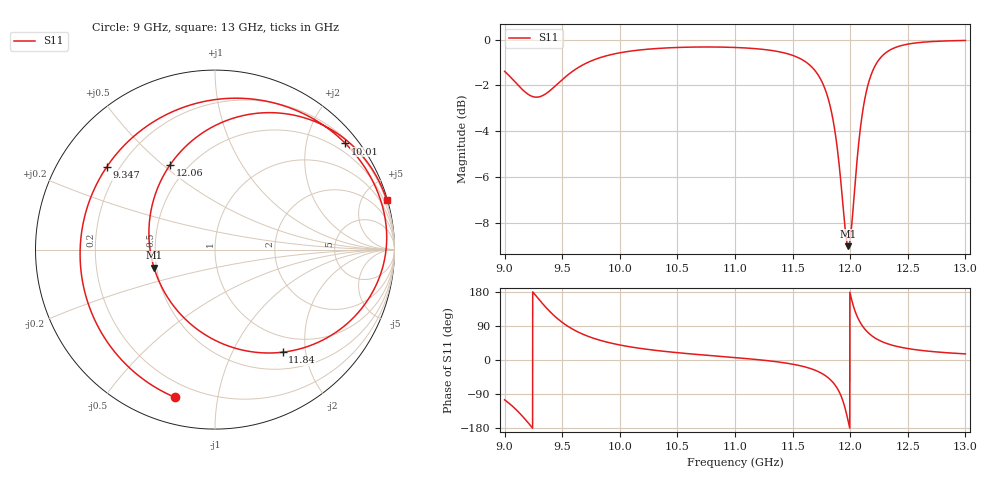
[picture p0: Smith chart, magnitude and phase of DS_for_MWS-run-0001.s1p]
! TOUCHSTONE file generated by CST DESIGN STUDIO
! Date and time: Tue Feb  4 18:29:34 2025
! Project name: C:\Work\MatlabApps\UnitCellOptimizationMatlab\CST\unitcell.cst
! Tree item: Tasks\Sweep1\SPara1\S-Parameters
! Header version: 2024
! Port assignment regex: !\s*Touchstone port\s*([0-9]+)\s*=\s*(CST MWS port|CST DES external port|CST DES block port)\s*(.+)\s* \(\"(.*)\"\)(\s*mode\s*([0-9]+))?.*
! Touchstone port assignment:
! Touchstone port 1 = CST DES external port 1 ("")
# GHz S MA R 50
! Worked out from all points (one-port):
!   4001 points, 9 GHz to 13 GHz, reference 50 ohm
!   lowest |S11| = -9.0 dB at 11.98 GHz (marker M1), VSWR 2.10, Z = 24.2 - j5.62 ohm
!   |S11| at or under -10 dB: nowhere
!   S11 on the Smith chart (normalised r, x): 9 GHz: 0.13, -0.76; 9.347 GHz: 0.15, +0.33; 10.01 GHz: 0.29, +2.78; 11.84 GHz: 0.74, -1.60; 12.06 GHz: 0.40, +0.53; 13 GHz: 0.10, +7.06
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9  0.853 -105.1
9.096  0.806 -129.8
9.198  0.7618 -163.3
9.27  0.7492 170.2
9.347  0.759 142.7
9.422  0.7851 119.2
9.5  0.8179 99.3
9.595  0.8547 80.6
9.724  0.8923 62.6
10  0.936 39.6
10.008  0.9368 39.2
10.5  0.9614 19.3
11  0.9615 6.4
11.5  0.9241 -11.0
11.71  0.846 -28.8
11.782  0.7799 -40.7
11.843  0.6847 -56.6
11.918  0.4925 -92.9
11.95  0.4013 -120.9
11.984  0.3544 -163.4
12  0.3671 174.9
12.056  0.5334 118.2
12.092  0.6518 96.5
12.131  0.7516 80.1
12.243  0.8995 53.3
12.351  0.951 40.3
12.5  0.9778 30.2
13  0.9959 16.1
